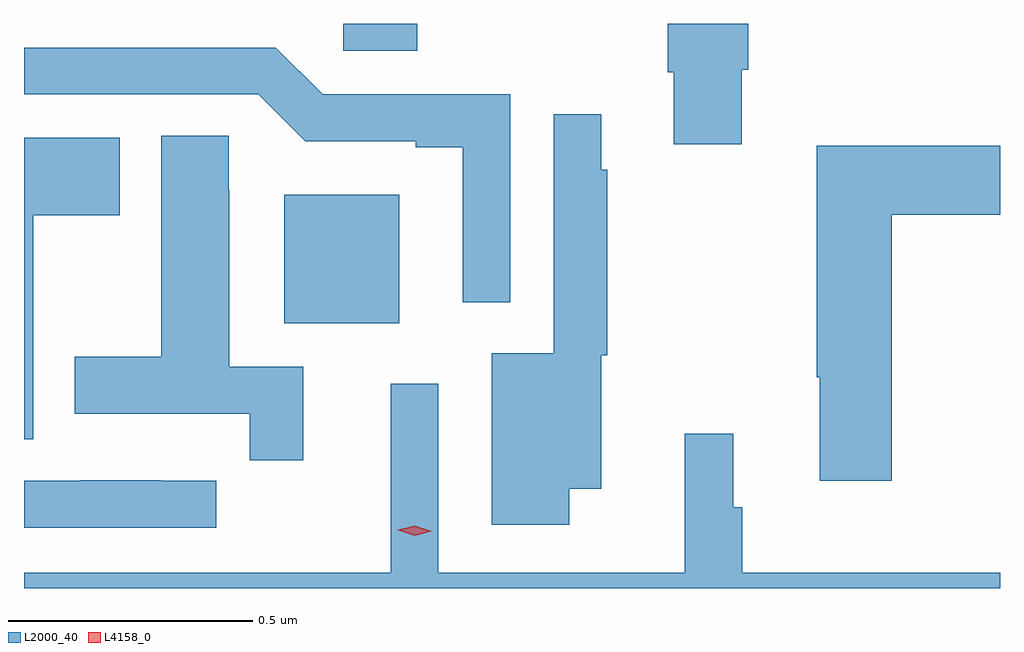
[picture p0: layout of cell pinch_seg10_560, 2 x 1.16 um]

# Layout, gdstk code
import gdstk
lib = gdstk.Library(unit=1e-6, precision=1e-09)
def R(c, l, rs):  # rectangles x0, y0, x1, y1
    for r in rs: c.add(gdstk.rectangle(r[:2], r[2:], *l))
def P(c, l, *ps):  # polygons
    for p in ps: c.add(gdstk.Polygon(p, *l))
L2000_40 = (2000, 40)
L4158_0 = (4158, 0)

pinch_seg10_560 = lib.new_cell('pinch_seg10_560')
R(pinch_seg10_560, L2000_40, [(143.606,1249.043,143.842,1249.306), (143.727,1249.602,143.879,1249.657)])
P(pinch_seg10_560, L2000_40, [(144.544,1249.563),(144.557,1249.563),(144.557,1249.657),(144.392,1249.657),(144.392,1249.558),(144.404,1249.558),(144.404,1249.41),(144.544,1249.41)],
  [(144.069,1249.512),(143.685,1249.512),(143.589,1249.608),(143.073,1249.608),(143.073,1249.512),(143.553,1249.512),(143.649,1249.416),(143.876,1249.416),(143.876,1249.404),(143.972,1249.404),(143.972,1249.086),(144.069,1249.086)],
  [(144.19,1248.704),(144.256,1248.704),(144.256,1248.978),(144.268,1248.978),(144.268,1249.358),(144.256,1249.358),(144.256,1249.471),(144.159,1249.471),(144.159,1248.982),(144.032,1248.982),(144.032,1248.63),(144.19,1248.63)],
  [(143.645,1248.954),(143.494,1248.954),(143.494,1249.316),(143.493,1249.316),(143.493,1249.427),(143.354,1249.427),(143.354,1248.975),(143.177,1248.975),(143.177,1248.858),(143.536,1248.858),(143.536,1248.762),(143.645,1248.762)],
  [(143.092,1249.264),(143.269,1249.264),(143.269,1249.423),(143.073,1249.423),(143.073,1248.805),(143.092,1248.805)],
  [(144.851,1249.265),(145.073,1249.265),(145.073,1249.407),(144.697,1249.407),(144.697,1248.932),(144.704,1248.932),(144.704,1248.72),(144.851,1248.72)],
  [(145.073,1248.532),(144.545,1248.532),(144.545,1248.666),(144.526,1248.666),(144.526,1248.817),(144.427,1248.817),(144.427,1248.532),(143.922,1248.532),(143.922,1248.919),(143.825,1248.919),(143.825,1248.532),(143.073,1248.532),(143.073,1248.5),(145.073,1248.5)],
  [(143.467,1248.72),(143.354,1248.72),(143.354,1248.721),(143.188,1248.721),(143.188,1248.72),(143.073,1248.72),(143.073,1248.624),(143.467,1248.624)])
P(pinch_seg10_560, L4158_0, [(143.874,1248.608),(143.84,1248.619),(143.839,1248.619),(143.84,1248.62),(143.874,1248.628),(143.909,1248.617),(143.909,1248.617),(143.909,1248.617)])

lib.write_gds('pinch_seg10_560.gds')
